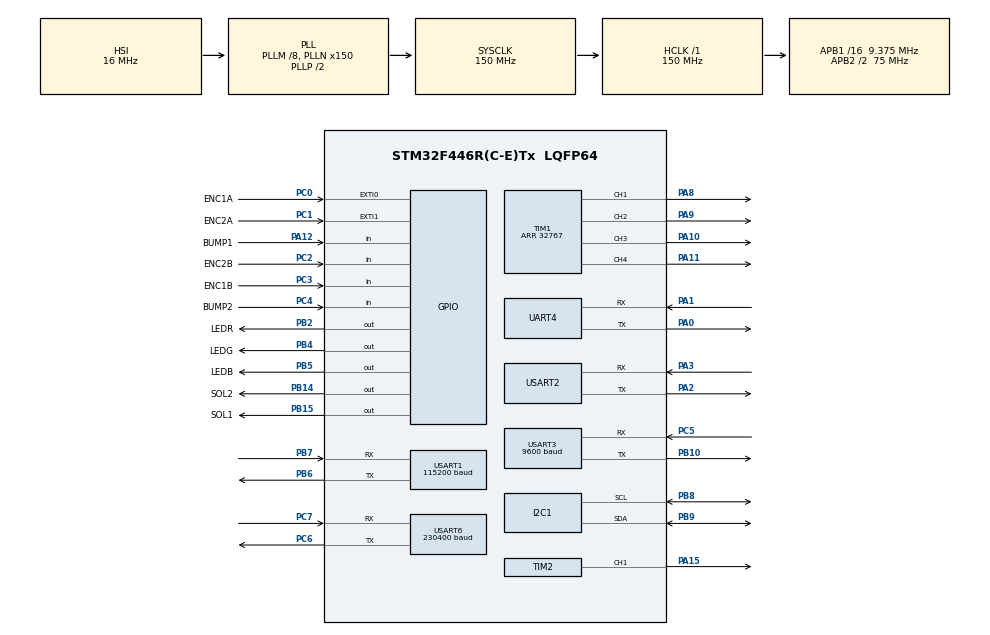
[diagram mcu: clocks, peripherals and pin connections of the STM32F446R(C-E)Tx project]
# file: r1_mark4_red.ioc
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I2C1.I2C_Mode=I2C_Fast
Mcu.Family=STM32F4
Mcu.Name=STM32F446R(C-E)Tx
Mcu.Package=LQFP64
NVIC.EXTI0_IRQn=true\:0\:0\:false\:false\:true\:true\:true\:true
NVIC.EXTI1_IRQn=true\:0\:0\:false\:false\:true\:true\:true\:true
NVIC.PriorityGroup=NVIC_PRIORITYGROUP_4
NVIC.UART4_IRQn=true\:0\:0\:false\:false\:true\:true\:true\:true
PA0-WKUP.Mode=Asynchronous
PA0-WKUP.Signal=UART4_TX
PA1.Mode=Asynchronous
PA1.Signal=UART4_RX
PA10.Signal=S_TIM1_CH3
PA11.Signal=S_TIM1_CH4
PA12.GPIO_Label=BUMP1
PA12.Signal=GPIO_Input
PA15.Signal=S_TIM2_CH1_ETR
PA2.Mode=Asynchronous
PA2.Signal=USART2_TX
PA3.Mode=Asynchronous
PA3.Signal=USART2_RX
PA8.Signal=S_TIM1_CH1
PA9.Signal=S_TIM1_CH2
PB10.Mode=Asynchronous
PB10.Signal=USART3_TX
PB14.GPIO_Label=SOL2
PB14.Signal=GPIO_Output
PB15.GPIO_Label=SOL1
PB15.Signal=GPIO_Output
PB2.GPIO_Label=LEDR
PB2.Signal=GPIO_Output
PB4.GPIO_Label=LEDG
PB4.Signal=GPIO_Output
PB5.GPIO_Label=LEDB
PB5.Signal=GPIO_Output
PB6.Mode=Asynchronous
PB6.Signal=USART1_TX
PB7.Mode=Asynchronous
PB7.Signal=USART1_RX
PB8.Mode=I2C
PB8.Signal=I2C1_SCL
PB9.Mode=I2C
PB9.Signal=I2C1_SDA
PC0.GPIO_Label=ENC1A
PC0.GPIO_PuPd=GPIO_PULLUP
PC0.Signal=GPXTI0
PC1.GPIO_Label=ENC2A
PC1.GPIO_PuPd=GPIO_PULLUP
PC1.Signal=GPXTI1
PC2.GPIO_Label=ENC2B
PC2.GPIO_PuPd=GPIO_PULLUP
PC2.Signal=GPIO_Input
PC3.GPIO_Label=ENC1B
PC3.GPIO_PuPd=GPIO_PULLUP
PC3.Signal=GPIO_Input
PC4.GPIO_Label=BUMP2
PC4.Signal=GPIO_Input
PC5.Mode=Asynchronous
PC5.Signal=USART3_RX
PC6.Mode=Asynchronous
PC6.Signal=USART6_TX
PC7.Mode=Asynchronous
PC7.Signal=USART6_RX
ProjectManager.HeapSize=0x200
ProjectManager.StackSize=0x400
ProjectManager.TargetToolchain=STM32CubeIDE
RCC.AHBFreq_Value=150000000
RCC.APB1CLKDivider=RCC_HCLK_DIV16
RCC.APB1Freq_Value=9375000
RCC.APB1TimFreq_Value=18750000
RCC.APB2CLKDivider=RCC_HCLK_DIV2
RCC.APB2Freq_Value=75000000
RCC.APB2TimFreq_Value=150000000
RCC.CortexFreq_Value=150000000
RCC.HCLKFreq_Value=150000000
RCC.PLLM=8
RCC.PLLN=150
RCC.SYSCLKFreq_VALUE=150000000
RCC.SYSCLKSource=RCC_SYSCLKSOURCE_PLLCLK
RCC.USBFreq_Value=150000000
RCC.VCOOutputFreq_Value=300000000
SH.S_TIM1_CH1.0=TIM1_CH1,PWM Generation1 CH1
SH.S_TIM1_CH2.0=TIM1_CH2,PWM Generation2 CH2
SH.S_TIM1_CH3.0=TIM1_CH3,PWM Generation3 CH3
SH.S_TIM1_CH4.0=TIM1_CH4,PWM Generation4 CH4
SH.S_TIM2_CH1_ETR.0=TIM2_CH1,PWM Generation1 CH1
TIM1.Channel-PWM\ Generation1\ CH1=TIM_CHANNEL_1
TIM1.Channel-PWM\ Generation2\ CH2=TIM_CHANNEL_2
TIM1.Channel-PWM\ Generation3\ CH3=TIM_CHANNEL_3
TIM1.Channel-PWM\ Generation4\ CH4=TIM_CHANNEL_4
TIM1.Period=32767
TIM2.Channel-PWM\ Generation1\ CH1=TIM_CHANNEL_1
TIM2.Period=19999
TIM2.Prescaler=15
TIM2.Pulse-PWM\ Generation1\ CH1=1500
UART4.VirtualMode=Asynchronous
USART1.BaudRate=115200
USART1.VirtualMode=VM_ASYNC
USART2.VirtualMode=VM_ASYNC
USART3.BaudRate=9600
USART3.VirtualMode=VM_ASYNC
USART6.BaudRate=230400
USART6.VirtualMode=VM_ASYNC
VP_TIM2_VS_ClockSourceINT.Mode=Internal
board=custom

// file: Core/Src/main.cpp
/* USER CODE BEGIN Header */
/**
 ******************************************************************************
 * @file           : main.c
 * @brief          : Main program body
 ******************************************************************************
 * @attention
 *
 * Copyright (c) 2026 STMicroelectronics.
 * All rights reserved.
 *
 * This software is licensed under terms that can be found in the LICENSE file
 * in the root directory of this software component.
 * If no LICENSE file comes with this software, it is provided AS-IS.
 *
 ******************************************************************************
 */
/* USER CODE END Header */
#include "main.h"

/* USER CODE BEGIN Includes */
#include<stdbool.h>
#include<string.h>
#include<stdio.h>

#include "bno055_stm32.h"
#include "stm32roboclaw.h"

#include<math.h>
#include "hrishikesh.h"
/* USER CODE END Includes */

I2C_HandleTypeDef hi2c1;

TIM_HandleTypeDef htim1;
TIM_HandleTypeDef htim2;

UART_HandleTypeDef huart4;
UART_HandleTypeDef huart1;
UART_HandleTypeDef huart2;
UART_HandleTypeDef huart3;
UART_HandleTypeDef huart6;

void SystemClock_Config(void);
static void MX_GPIO_Init(void);
static void MX_USART2_UART_Init(void);
static void MX_I2C1_Init(void);
static void MX_USART1_UART_Init(void);
static void MX_USART6_UART_Init(void);
static void MX_UART4_Init(void);
static void MX_USART3_UART_Init(void);
static void MX_TIM1_Init(void);
static void MX_TIM2_Init(void);

/* USER CODE BEGIN 0 */
int target=0;
float error= 0;
float preverror=0;
float P=8;
float I=0.0005;
float D=60;
float intg;

int16_t vFL, vFR, vBL, vBR;
int16_t vMAX = 0;
int16_t maxspeed = 32000;

int16_t PID(float angz){
	error=target-angz;
	intg += error;
	int16_t output = (error*P)+(intg*I)+((error-preverror)*D);
	if(output>100) output = 100;
	if(output<-100) output = -100;
	preverror=error;
	//printf("%d\r\n",error);
	return output;
}

uint8_t rx_byte;
volatile uint8_t rx_count=0;
volatile bool ready= false;
volatile uint8_t idx=0;
uint8_t packet_buffer[11];

//data
int8_t LX;
int8_t LY;
int8_t RX;
int8_t RY;
uint8_t L2,R2;
uint16_t buttons;
uint16_t prev_buttons;
int mode=0,sign=0;

//FOD variables
float driveLX, driveLY;

#define EVENT_QUEUE_SIZE 8
volatile uint16_t event_queue[8];
volatile uint8_t event_head =0;
volatile uint8_t event_tail =0;
volatile uint16_t prev_buttons_isr = 0;

#define NUM_BUTTONS 10
volatile uint8_t butt[NUM_BUTTONS] = {0};

//cytron definitions
#define KFSvertical 0x00
#define KFShorizontal 0x08
#define leadscrew 0x01
#define powerwindow 0x09

//power window rotation flags
bool CW = false;
bool CCW = false;

bool gripper = true;

//kfs intake flags
bool kfsintake = false;
bool kfsexit = false;
bool kfshold = true;

bool kfsLeadscrewVertUp = false;
bool kfsLeadscrewVertDown = false;

bool kfsLeadscrewHoriFW = false;
bool kfsLeadscrewHoriBW = false;

//staff picking leadscrew flags
bool sexPosition = false;
int Encodertarget = 0;
float encerror;
float encpreverror;
float encP = 1.0;
float encI = 0.0;
float encD = 0.0;
float encintg;
int encOut;
bool manualControl = true;
volatile uint8_t servoflag = 0;      // target state (0° / 90°)
static uint8_t lastServoState = 255; // tracks previous state

int16_t encPID(float input){
	encerror=Encodertarget-input;
	encintg += encerror*encI;
	int16_t output = (encerror*encP)+encintg+((encerror-encpreverror)*encD);
	if(output>100) output = 100;
	if(output<-100) output = -100;
	preverror=error;
	//printf("%d\r\n",error);
	return output;
}

//encoder counts
volatile int32_t KFSencoderCount = 0;
volatile int32_t StaffencoderCount = 0;

static inline void enqueue_button_event(uint16_t pressed)
{
	uint8_t next = (event_head + 1) % EVENT_QUEUE_SIZE;

	if (next != event_tail) {   // queue not full
		event_queue[event_head] = pressed;
		event_head = next;
	}
}

bool check_packet(uint8_t *buf){
	if(buf[0]!=0xAA || buf[10]!=0x55) return false;
	uint8_t sum=0;
	for(int i=0;i<=8;i++) sum+=buf[i];
	return ((uint8_t)(0-sum)==buf[9]);
}

void HAL_GPIO_EXTI_Callback(uint16_t GPIO_Pin){
	if(GPIO_Pin==ENC2A_Pin){
		if(HAL_GPIO_ReadPin(ENC2B_GPIO_Port, ENC2B_Pin)==1){
			StaffencoderCount++;
		}
		else{
			StaffencoderCount--;
		}
	}

	if(GPIO_Pin==ENC1A_Pin){
		if(HAL_GPIO_ReadPin(ENC1B_GPIO_Port, ENC1B_Pin)==1){
			KFSencoderCount++;
		}
		else{
			KFSencoderCount--;
		}
	}
}

void HAL_UART_RxCpltCallback(UART_HandleTypeDef *huart)
{
	if (huart->Instance == UART4)
	{
		if (idx == 0)
		{
			if (rx_byte == 0xAA)
			{
				packet_buffer[idx++] = rx_byte;
			}
		}
		else
		{
			packet_buffer[idx++] = rx_byte;

			if (idx == 11)
			{
				if (check_packet(packet_buffer))
				{
					ready=true;
					uint16_t buttons =
							packet_buffer[7] |
							(packet_buffer[8] << 8);

					uint16_t pressed = buttons & ~prev_buttons;

					if (pressed)
						enqueue_button_event(pressed);

					prev_buttons = buttons;

					HAL_GPIO_TogglePin(GPIOA, GPIO_PIN_5);
				}

				idx = 0;
			}
		}

		HAL_UART_Receive_IT(&huart4, &rx_byte, 1);
	}
}

void MDDS60_SendPacket(uint8_t addr, int8_t cmd)
{
	cmd = map(cmd, -100, 100, 0, 255);

	uint8_t packet[4];

	packet[0] = 0x55;
	packet[1] = addr;
	packet[2] = cmd;
	packet[3] = packet[0] + packet[1] + packet[2];

	HAL_UART_Transmit(&huart3, packet, 4, 100);
}

void MDDS60_Autobaud(void)
{
	uint8_t b = 0x55;

	HAL_Delay(2000);
	HAL_UART_Transmit(&huart3, &b, 1, 100);
	HAL_Delay(1000);
}

void MDDS60_StopAll(void){
	MDDS60_SendPacket(0x00,0);
	HAL_Delay(20);
	MDDS60_SendPacket(0x08,0);
}

void process_packet(void){
	if(ready){
		uint8_t local_buf[11];
		__disable_irq();
		memcpy(local_buf, packet_buffer, 11);
		ready = false;
		__enable_irq();

		if(check_packet(local_buf)){
			//			LX = (int8_t)local_buf[1];
			//			LY = (int8_t)local_buf[2];
			//			RX = (int8_t)local_buf[3];
			//			RY = (int8_t)local_buf[4];
			LX = ((int16_t)local_buf[1] - 50) * 2;
			LY = ((int16_t)local_buf[2] - 50) * 2;
			RX = ((int16_t)local_buf[3] - 50) * 2;
			RY = ((int16_t)local_buf[4] - 50) * 2;
			R2 = local_buf[5];
			L2 = local_buf[6];
		}
	}
}

void print_pots(void)
{
	printf("LX:%d  LY:%d  RX:%d  RY:%d  L2:%d  R2:%d\r\n", LX, LY, RX, RY, L2, R2);
}

// Send printf to uart2
extern "C" int _write(int fd, char* ptr, int len) {
	HAL_StatusTypeDef hstatus;

	if (fd == 1 || fd == 2) {
		hstatus = HAL_UART_Transmit(&huart2, (uint8_t *) ptr, len, HAL_MAX_DELAY);
		if (hstatus == HAL_OK)
			return len;
		else
			return -1;
	}
	return -1;
}

stm32RoboClaw motor(&huart1,100);
stm32RoboClaw motor2(&huart6,100);

void inv_kin(float x, float y, float z){
	if(mode==2){
		x=-x*0.35;
		y=-y*0.35;
	}

	else if(mode==4){
		x=-x*0.80;
		y=-y*0.80;
	}
	else{
		x=-x*0.5;
		y=-y*0.5;
	}

	//z=-z;
	z = map(z, -100, 100, -35000, 35000); //maps value of output with range of speed of motors // 100
	x = map(x, -100, 100, -35000, 35000); //maps xj1 values to max speed of motors
	y = map(y, -100, 100, -35000, 35000); //maps yj1 values to max speed of motors

	//inverse kinematics equation for each motor
	vFL = -0.35*x - 0.35*y + 0.25*z;
	vFR = -0.35*x + 0.35*y + 0.25*z;
	vBL = 0.35*x - 0.35*y + 0.25*z;
	vBR = 0.35*x + 0.35*y + 0.25*z;

	vMAX = fmaxf(fmaxf(abs(vFL), abs(vBL)),fmaxf(abs(vFR), abs(vBR)));

	if (vMAX > maxspeed) {
		vFL = (vFL / vMAX) * maxspeed;
		vBL = (vBL / vMAX) * maxspeed;
		vFR = (vFR / vMAX) * maxspeed;
		vBR = (vBR / vMAX) * maxspeed;
	}

	vFL=constrain(vFL,-maxspeed,maxspeed);
	vFR=constrain(vFR,-maxspeed,maxspeed);
	vBL=constrain(vBL,-maxspeed,maxspeed);
	vBR=constrain(vBR,-maxspeed,maxspeed);

	//printf("vfl: %d, vfr: %d, , vbl: %d, , vbr: %d\r\n",vFL, vFR, vBL, vBR);
	motor.DutyM1(129, vFR);
	motor.DutyM2(129, vFL);
	motor2.DutyM1(129, vBL);
	motor2.DutyM2(129, -vBR);

}

void motor_test(void){
	motor.DutyM1(129, 2000);	//vFR
	motor.DutyM2(129, 2000);	//vFL
	motor2.DutyM1(129, 2000);	//vBL
	motor2.DutyM2(129, -2000);	//vBR
}

void PotDeadzone(){
	if(LX<20 && LX>-20) LX=0;
	if(LY<20 && LY>-20) LY=0;
	if(RX<20 && RX>-20) RX=0;
	if(RY<20 && RY>-20) RY=0;

}

void ModeSet(){
	if(RX> 75) mode=1;
	if(RX<-75) mode=2;
	if(RY> 75) mode=3;
	if(RY<-75) mode=4;
}

//void FOD(float x){
//	float pi= 3.14159;
//	float angle = ((-x*pi)/180);
//	int8_t tempLX,tempLY;
//
//	tempLX = (LY*sin(angle)) + (LX*cos(angle));
//	tempLY = (LY*cos(angle)) -(LX*sin(angle));
//
//	LX = tempLX;
//	LY = tempLY;
//}

void FOD(float heading, float *outLX, float *outLY)
{
	float angle = heading * (3.14159265f / 180.0f);

	float x = (float)LX;
	float y = (float)LY;

	*outLX = (x * cosf(angle)) - (y * sinf(angle));
	*outLY = (x * sinf(angle)) + (y * cosf(angle));
}

void colorSet(int mode){
	if(mode==1){ //green
		HAL_GPIO_WritePin(LEDR_GPIO_Port, LEDR_Pin, GPIO_PIN_RESET);
		HAL_GPIO_WritePin(LEDG_GPIO_Port, LEDG_Pin, GPIO_PIN_SET);
		HAL_GPIO_WritePin(LEDB_GPIO_Port, LEDB_Pin, GPIO_PIN_RESET);
	}

	else if(mode==2){ //yellow
		HAL_GPIO_WritePin(LEDR_GPIO_Port, LEDR_Pin, GPIO_PIN_SET);
		HAL_GPIO_WritePin(LEDG_GPIO_Port, LEDG_Pin, GPIO_PIN_SET);
		HAL_GPIO_WritePin(LEDB_GPIO_Port, LEDB_Pin, GPIO_PIN_RESET);
	}

	else if(mode==3){ //blue
		HAL_GPIO_WritePin(LEDR_GPIO_Port, LEDR_Pin, GPIO_PIN_RESET);
		HAL_GPIO_WritePin(LEDG_GPIO_Port, LEDG_Pin, GPIO_PIN_RESET);
		HAL_GPIO_WritePin(LEDB_GPIO_Port, LEDB_Pin, GPIO_PIN_SET);
	}

	else if(mode==4){ //red
		HAL_GPIO_WritePin(LEDR_GPIO_Port, LEDR_Pin, GPIO_PIN_SET);
		HAL_GPIO_WritePin(LEDG_GPIO_Port, LEDG_Pin, GPIO_PIN_RESET);
		HAL_GPIO_WritePin(LEDB_GPIO_Port, LEDB_Pin, GPIO_PIN_RESET);
	}
}

void StaffPickingLeadscrew(){
	if(mode==2){
		if(L2>70){
			MDDS60_SendPacket(leadscrew, -50);
		}
		else if(R2>70){
			MDDS60_SendPacket(leadscrew, 50);
		}
		else{
			MDDS60_SendPacket(leadscrew, 0);
		}
	}
}

void PowerWindowRotation(){
	if(mode==2){
		if(CW){
			//printf("moving cw\r\n");
			// red side pwm = 20 for blue side pwm  = -20
			int bump = HAL_GPIO_ReadPin(BUMP2_GPIO_Port, BUMP2_Pin);
			if(bump!=0){
				MDDS60_SendPacket(powerwindow, 20);
			}
			else{
				MDDS60_SendPacket(powerwindow, 0);
			}

		}

		else if(CCW){
			//printf("moving ccw\r\n");
			MDDS60_SendPacket(powerwindow, -20);
		}

		else{
			//printf("stopped\r\n");
			MDDS60_SendPacket(powerwindow, 0);
		}
	}
}

void gripperRotation(){
	if(gripper==false){
		HAL_GPIO_WritePin(SOL1_GPIO_Port, SOL1_Pin, GPIO_PIN_SET);
		HAL_GPIO_WritePin(SOL2_GPIO_Port, SOL2_Pin, GPIO_PIN_RESET);
	}
	else{
		HAL_GPIO_WritePin(SOL1_GPIO_Port, SOL1_Pin, GPIO_PIN_RESET);
		HAL_GPIO_WritePin(SOL2_GPIO_Port, SOL2_Pin, GPIO_PIN_SET);
	}
}

void KFSPicking(){
	if(mode==3){
		if(kfsintake){
			//printf("intake\r\n");
			TIM1->CCR3 = 0;
			TIM1->CCR4 = 20000;
		}
		else if(kfsexit){
			//printf("exit\r\n");
			TIM1->CCR3 = 8000;
			TIM1->CCR4 = 0;
		}
		else{
			//printf("stopped\r\n");
			TIM1->CCR3 = 0;
			TIM1->CCR4 = 0;
		}
	}
}

void KFShold(){
	if(mode==3){
		TIM1->CCR1 = 0;
		TIM1->CCR2 = 0;
		if(kfshold){
			printf("open position\r\n");
			if(KFSencoderCount<-16){
				TIM1->CCR1 = 10000;
				TIM1->CCR2= 0;
			}
			else{
				TIM1->CCR1 = 0;
				TIM1->CCR2 = 0;
			}
		}
		else{
			printf("close position\r\n");
			if(KFSencoderCount>-45){
				TIM1->CCR1 = 0;
				TIM1->CCR2= 10000;
			}
			else{
				TIM1->CCR1 = 0;
				TIM1->CCR2 = 500;
			}
		}
	}
}

void KFSLeadscrewVert(){
	if(mode==3){
		if(kfsLeadscrewVertUp){
			//printf("Lead up\r\n");
			MDDS60_SendPacket(KFSvertical, 30);
		}
		else if(kfsLeadscrewVertDown){
			//printf("Lead down\r\n");
			MDDS60_SendPacket(KFSvertical, -30);
		}
		else{
			//printf("stopped\r\n");
			MDDS60_SendPacket(KFSvertical, 0);
		}
	}
}

void KFSLeadscrewHori(){
	if(mode==3){
		if(kfsLeadscrewHoriBW){
			//printf("Lead back\r\n");
			MDDS60_SendPacket(KFShorizontal, 30);
		}
		else if(kfsLeadscrewHoriFW){
			//printf("Lead forw\r\n");
			int bump1 = HAL_GPIO_ReadPin(BUMP1_GPIO_Port, BUMP1_Pin);
			if(bump1== 0){
				MDDS60_SendPacket(KFShorizontal, 0);
			}
			else{
				MDDS60_SendPacket(KFShorizontal, -30);
			}
		}
		else{
			//printf("stopped\r\n");
			MDDS60_SendPacket(KFShorizontal, 0);
		}
	}
}

void StaffPickingLeadscrewPID(){
	if(sexPosition){
		Encodertarget = 19500;
	}
	else{
		Encodertarget = 0;
	}

	encOut = encPID(StaffencoderCount);
	MDDS60_SendPacket(leadscrew, encOut);
}

void ServoControl()
{
	if(lastServoState != servoflag){

		if(servoflag == false){   // Move 0 -> 90
			for(int angle = 0; angle <= 100; angle++){
				uint16_t pulse = 500 + (angle * 2000 / 180);

				__HAL_TIM_SET_COMPARE(
						&htim2,
						TIM_CHANNEL_1,
						pulse
				);

				HAL_Delay(10);
			}
		}
		else{            // Move 90 -> 0
			for(int angle = 90; angle >= 0; angle--){

				uint16_t pulse = 500 + (angle * 2000 / 180);

				__HAL_TIM_SET_COMPARE(
						&htim2,
						TIM_CHANNEL_1,
						pulse
				);

				HAL_Delay(10);
			}
		}

		lastServoState = servoflag;
	}
}

void process_button_events(void)
{
	while (event_tail != event_head) {

		uint16_t evt = event_queue[event_tail];
		event_tail = (event_tail + 1) % EVENT_QUEUE_SIZE;

		if(evt & (1 << 0)){
			//printf("Cross\r\n");
			if(mode==3){
				kfsLeadscrewVertUp = !kfsLeadscrewVertUp;
				kfsLeadscrewVertDown=false;
			}

		}

		if(evt & (1 << 1)){
			//printf("Circle\r\n");}
			if(mode==3){
				kfsLeadscrewHoriFW = !kfsLeadscrewHoriFW;
				kfsLeadscrewHoriBW = false;
			}

		}
		if(evt & (1 << 2)){
			//printf("Triangle\r\n");
			if(mode==1){
				target+=(sign*90);
				P = 3;
				I = 0.0007;
				D = 100;
			}

			else if(mode==2){
				servoflag = !servoflag;
			}
			else if(mode==3){
				kfsLeadscrewVertDown = !kfsLeadscrewVertDown;
				kfsLeadscrewVertUp=false;
			}

		}
		if(evt & (1 << 3)){
			//printf("Square\r\n");
			if(mode==1){
				target+=(sign*5);
				P = 8;
				I = 0.0005;
				D = 60;
			}

			else if(mode==2){
				manualControl = !manualControl;
			}

			else if(mode==3){
				kfsLeadscrewHoriBW = !kfsLeadscrewHoriBW;
				kfsLeadscrewHoriFW = false;
			}

		}
		if(evt & (1 << 4)){
			//printf("L1\r\n");
			if(mode==2){
				gripper =!gripper;
			}

			else if(mode==3){
				kfsintake =!kfsintake;
				kfsexit = false;
			}
		}
		if(evt & (1 << 5)){
			//printf("R1\r\n");
			if(mode==3){
				kfsexit =!kfsexit;
				kfsintake = false;
			}

			//			else if(mode==2){
			//				sexPosition = !sexPosition;
			//			}
		}
		if(evt & (1 << 6)) {
			//printf("Up\r\n");
			if(mode==2){
				CW=!CW;
				CCW=false;
			}
		}
		if(evt & (1 << 7)){
			//printf("Down\r\n");
			if(mode==2){
				CCW=!CCW;
				CW=false;
			}
		}
		if(evt & (1 << 8)){
			//printf("Left\r\n");
			sign=-1;
			if(mode==3){
				kfshold = !kfshold;
			}
		}
		if(evt & (1 << 9)){
			//printf("Right\r\n");
			sign=1;
		}
	}
}
/* USER CODE END 0 */

int main(void)
{

	/* USER CODE BEGIN 1 */
	motor.DutyM1(129, -0);
	motor.DutyM2(129, 0);
	motor2.DutyM1(129, 0);
	motor2.DutyM2(129, 0);
	/* USER CODE END 1 */

	/* MCU Configuration--------------------------------------------------------*/

	/* Reset of all peripherals, Initializes the Flash interface and the Systick. */
	HAL_Init();

	/* Configure the system clock */
	SystemClock_Config();

	/* Initialize all configured peripherals */
	MX_GPIO_Init();
	MX_USART2_UART_Init();
	MX_I2C1_Init();
	MX_USART1_UART_Init();
	MX_USART6_UART_Init();
	MX_UART4_Init();
	MX_USART3_UART_Init();
	MX_TIM1_Init();
	MX_TIM2_Init();
	/* USER CODE BEGIN 2 */
	printf("STM32 initializing\r\n");
	HAL_GPIO_WritePin(LEDR_GPIO_Port, LEDR_Pin, GPIO_PIN_SET);
	HAL_GPIO_WritePin(LEDG_GPIO_Port, LEDG_Pin, GPIO_PIN_SET);
	HAL_GPIO_WritePin(LEDB_GPIO_Port, LEDB_Pin, GPIO_PIN_SET);

	HAL_NVIC_SetPriority(UART4_IRQn, 0, 0);
	HAL_NVIC_EnableIRQ(UART4_IRQn);
	HAL_UART_Receive_IT(&huart4, &rx_byte, 1);

	HAL_Delay(100);

	bno055_assignI2C(&hi2c1);
	bno055_setup();
	bno055_setOperationModeNDOF();

	HAL_Delay(1000);
	printf("Stm32 setup complete\r\n");
	HAL_GPIO_WritePin(LEDR_GPIO_Port, LEDR_Pin, GPIO_PIN_RESET);
	HAL_GPIO_WritePin(LEDG_GPIO_Port, LEDG_Pin, GPIO_PIN_SET);
	HAL_GPIO_WritePin(LEDB_GPIO_Port, LEDB_Pin, GPIO_PIN_RESET);

	MDDS60_Autobaud();
	MDDS60_StopAll();
	HAL_Delay(500);

	HAL_TIM_PWM_Start(&htim1, TIM_CHANNEL_1);
	HAL_TIM_PWM_Start(&htim1, TIM_CHANNEL_2);
	HAL_TIM_PWM_Start(&htim1, TIM_CHANNEL_3);
	HAL_TIM_PWM_Start(&htim1, TIM_CHANNEL_4);

	HAL_TIM_PWM_Start(&htim2, TIM_CHANNEL_1);
	/* USER CODE END 2 */

	/* Infinite loop */
	/* USER CODE BEGIN WHILE */
	while (1)
	{
		process_packet();
		process_button_events();
		PotDeadzone();
		ModeSet();
		colorSet(mode);
		//		//print_pots();
		//
		float v = bno055_getHeadingContinuous();
		//printf("%.2f\r\n",v);
		FOD(v,&driveLX,&driveLY);
		inv_kin(driveLX, driveLY, PID(v));
		//printf("VFL:%d\tVFR:%d\tVBL:%d\tVBR:%d\r\n",vFL,vFR,vBL,vBR);
		//printf("%.2f,-8,8\r\n",v);

		if(manualControl){
			StaffPickingLeadscrew();
		}
		else{
			//StaffPickingLeadscrewPID();
			if(StaffencoderCount>=-75000){
				MDDS60_SendPacket(leadscrew, -70);
			}
			else{
				MDDS60_SendPacket(leadscrew, 0);
			}
		}
		PowerWindowRotation();
		gripperRotation();
		KFSPicking();
		KFShold();
		KFSLeadscrewVert();
		KFSLeadscrewHori();
		ServoControl();

		printf("%d\r\n",StaffencoderCount);

		/* USER CODE END WHILE */

	}
}

void SystemClock_Config(void)
{
	RCC_OscInitTypeDef RCC_OscInitStruct = {0};
	RCC_ClkInitTypeDef RCC_ClkInitStruct = {0};

	/** Configure the main internal regulator output voltage
	 */
	__HAL_RCC_PWR_CLK_ENABLE();
	__HAL_PWR_VOLTAGESCALING_CONFIG(PWR_REGULATOR_VOLTAGE_SCALE1);

	/** Initializes the RCC Oscillators according to the specified parameters
	 * in the RCC_OscInitTypeDef structure.
	 */
	RCC_OscInitStruct.OscillatorType = RCC_OSCILLATORTYPE_HSI;
	RCC_OscInitStruct.HSIState = RCC_HSI_ON;
	RCC_OscInitStruct.HSICalibrationValue = RCC_HSICALIBRATION_DEFAULT;
	RCC_OscInitStruct.PLL.PLLState = RCC_PLL_ON;
	RCC_OscInitStruct.PLL.PLLSource = RCC_PLLSOURCE_HSI;
	RCC_OscInitStruct.PLL.PLLM = 8;
	RCC_OscInitStruct.PLL.PLLN = 150;
	RCC_OscInitStruct.PLL.PLLP = RCC_PLLP_DIV2;
	RCC_OscInitStruct.PLL.PLLQ = 2;
	RCC_OscInitStruct.PLL.PLLR = 2;
	if (HAL_RCC_OscConfig(&RCC_OscInitStruct) != HAL_OK)
	{
		Error_Handler();
	}

	/** Initializes the CPU, AHB and APB buses clocks
	 */
	RCC_ClkInitStruct.ClockType = RCC_CLOCKTYPE_HCLK|RCC_CLOCKTYPE_SYSCLK
			|RCC_CLOCKTYPE_PCLK1|RCC_CLOCKTYPE_PCLK2;
	RCC_ClkInitStruct.SYSCLKSource = RCC_SYSCLKSOURCE_PLLCLK;
	RCC_ClkInitStruct.AHBCLKDivider = RCC_SYSCLK_DIV1;
	RCC_ClkInitStruct.APB1CLKDivider = RCC_HCLK_DIV16;
	RCC_ClkInitStruct.APB2CLKDivider = RCC_HCLK_DIV2;

	if (HAL_RCC_ClockConfig(&RCC_ClkInitStruct, FLASH_LATENCY_4) != HAL_OK)
	{
		Error_Handler();
	}
}

static void MX_I2C1_Init(void)
{

	hi2c1.Instance = I2C1;
	hi2c1.Init.ClockSpeed = 400000;
	hi2c1.Init.DutyCycle = I2C_DUTYCYCLE_2;
	hi2c1.Init.OwnAddress1 = 0;
	hi2c1.Init.AddressingMode = I2C_ADDRESSINGMODE_7BIT;
	hi2c1.Init.DualAddressMode = I2C_DUALADDRESS_DISABLE;
	hi2c1.Init.OwnAddress2 = 0;
	hi2c1.Init.GeneralCallMode = I2C_GENERALCALL_DISABLE;
	hi2c1.Init.NoStretchMode = I2C_NOSTRETCH_DISABLE;
	if (HAL_I2C_Init(&hi2c1) != HAL_OK)
	{
		Error_Handler();
	}

}

static void MX_TIM1_Init(void)
{

	TIM_MasterConfigTypeDef sMasterConfig = {0};
	TIM_OC_InitTypeDef sConfigOC = {0};
	TIM_BreakDeadTimeConfigTypeDef sBreakDeadTimeConfig = {0};

	htim1.Instance = TIM1;
	htim1.Init.Prescaler = 0;
	htim1.Init.CounterMode = TIM_COUNTERMODE_UP;
	htim1.Init.Period = 32767;
	htim1.Init.ClockDivision = TIM_CLOCKDIVISION_DIV1;
	htim1.Init.RepetitionCounter = 0;
	htim1.Init.AutoReloadPreload = TIM_AUTORELOAD_PRELOAD_DISABLE;
	if (HAL_TIM_PWM_Init(&htim1) != HAL_OK)
	{
		Error_Handler();
	}
	sMasterConfig.MasterOutputTrigger = TIM_TRGO_RESET;
	sMasterConfig.MasterSlaveMode = TIM_MASTERSLAVEMODE_DISABLE;
	if (HAL_TIMEx_MasterConfigSynchronization(&htim1, &sMasterConfig) != HAL_OK)
	{
		Error_Handler();
	}
	sConfigOC.OCMode = TIM_OCMODE_PWM1;
	sConfigOC.Pulse = 0;
	sConfigOC.OCPolarity = TIM_OCPOLARITY_HIGH;
	sConfigOC.OCNPolarity = TIM_OCNPOLARITY_HIGH;
	sConfigOC.OCFastMode = TIM_OCFAST_DISABLE;
	sConfigOC.OCIdleState = TIM_OCIDLESTATE_RESET;
	sConfigOC.OCNIdleState = TIM_OCNIDLESTATE_RESET;
	if (HAL_TIM_PWM_ConfigChannel(&htim1, &sConfigOC, TIM_CHANNEL_1) != HAL_OK)
	{
		Error_Handler();
	}
	if (HAL_TIM_PWM_ConfigChannel(&htim1, &sConfigOC, TIM_CHANNEL_2) != HAL_OK)
	{
		Error_Handler();
	}
	if (HAL_TIM_PWM_ConfigChannel(&htim1, &sConfigOC, TIM_CHANNEL_3) != HAL_OK)
	{
		Error_Handler();
	}
	if (HAL_TIM_PWM_ConfigChannel(&htim1, &sConfigOC, TIM_CHANNEL_4) != HAL_OK)
	{
		Error_Handler();
	}
	sBreakDeadTimeConfig.OffStateRunMode = TIM_OSSR_DISABLE;
	sBreakDeadTimeConfig.OffStateIDLEMode = TIM_OSSI_DISABLE;
	sBreakDeadTimeConfig.LockLevel = TIM_LOCKLEVEL_OFF;
	sBreakDeadTimeConfig.DeadTime = 0;
	sBreakDeadTimeConfig.BreakState = TIM_BREAK_DISABLE;
	sBreakDeadTimeConfig.BreakPolarity = TIM_BREAKPOLARITY_HIGH;
	sBreakDeadTimeConfig.AutomaticOutput = TIM_AUTOMATICOUTPUT_DISABLE;
	if (HAL_TIMEx_ConfigBreakDeadTime(&htim1, &sBreakDeadTimeConfig) != HAL_OK)
	{
		Error_Handler();
	}
	HAL_TIM_MspPostInit(&htim1);

}

static void MX_TIM2_Init(void)
{

	TIM_ClockConfigTypeDef sClockSourceConfig = {0};
	TIM_MasterConfigTypeDef sMasterConfig = {0};
	TIM_OC_InitTypeDef sConfigOC = {0};

	htim2.Instance = TIM2;
	htim2.Init.Prescaler = 15;
	htim2.Init.CounterMode = TIM_COUNTERMODE_UP;
	htim2.Init.Period = 19999;
	htim2.Init.ClockDivision = TIM_CLOCKDIVISION_DIV1;
	htim2.Init.AutoReloadPreload = TIM_AUTORELOAD_PRELOAD_DISABLE;
	if (HAL_TIM_Base_Init(&htim2) != HAL_OK)
	{
		Error_Handler();
	}
	sClockSourceConfig.ClockSource = TIM_CLOCKSOURCE_INTERNAL;
	if (HAL_TIM_ConfigClockSource(&htim2, &sClockSourceConfig) != HAL_OK)
	{
		Error_Handler();
	}
	if (HAL_TIM_PWM_Init(&htim2) != HAL_OK)
	{
		Error_Handler();
	}
	sMasterConfig.MasterOutputTrigger = TIM_TRGO_RESET;
	sMasterConfig.MasterSlaveMode = TIM_MASTERSLAVEMODE_DISABLE;
	if (HAL_TIMEx_MasterConfigSynchronization(&htim2, &sMasterConfig) != HAL_OK)
	{
		Error_Handler();
	}
	sConfigOC.OCMode = TIM_OCMODE_PWM1;
	sConfigOC.Pulse = 1500;
	sConfigOC.OCPolarity = TIM_OCPOLARITY_HIGH;
	sConfigOC.OCFastMode = TIM_OCFAST_DISABLE;
	if (HAL_TIM_PWM_ConfigChannel(&htim2, &sConfigOC, TIM_CHANNEL_1) != HAL_OK)
	{
		Error_Handler();
	}
	HAL_TIM_MspPostInit(&htim2);

}

static void MX_UART4_Init(void)
{

	huart4.Instance = UART4;
	huart4.Init.BaudRate = 115200;
	huart4.Init.WordLength = UART_WORDLENGTH_8B;
	huart4.Init.StopBits = UART_STOPBITS_1;
	huart4.Init.Parity = UART_PARITY_NONE;
	huart4.Init.Mode = UART_MODE_TX_RX;
	huart4.Init.HwFlowCtl = UART_HWCONTROL_NONE;
	huart4.Init.OverSampling = UART_OVERSAMPLING_16;
	if (HAL_UART_Init(&huart4) != HAL_OK)
	{
		Error_Handler();
	}

}

static void MX_USART1_UART_Init(void)
{

	huart1.Instance = USART1;
	huart1.Init.BaudRate = 115200;
	huart1.Init.WordLength = UART_WORDLENGTH_8B;
	huart1.Init.StopBits = UART_STOPBITS_1;
	huart1.Init.Parity = UART_PARITY_NONE;
	huart1.Init.Mode = UART_MODE_TX_RX;
	huart1.Init.HwFlowCtl = UART_HWCONTROL_NONE;
	huart1.Init.OverSampling = UART_OVERSAMPLING_16;
	if (HAL_UART_Init(&huart1) != HAL_OK)
	{
		Error_Handler();
	}

}

static void MX_USART2_UART_Init(void)
{

	huart2.Instance = USART2;
	huart2.Init.BaudRate = 115200;
	huart2.Init.WordLength = UART_WORDLENGTH_8B;
	huart2.Init.StopBits = UART_STOPBITS_1;
	huart2.Init.Parity = UART_PARITY_NONE;
	huart2.Init.Mode = UART_MODE_TX_RX;
	huart2.Init.HwFlowCtl = UART_HWCONTROL_NONE;
	huart2.Init.OverSampling = UART_OVERSAMPLING_16;
	if (HAL_UART_Init(&huart2) != HAL_OK)
	{
		Error_Handler();
	}

}

static void MX_USART3_UART_Init(void)
{

	huart3.Instance = USART3;
	huart3.Init.BaudRate = 9600;
	huart3.Init.WordLength = UART_WORDLENGTH_8B;
	huart3.Init.StopBits = UART_STOPBITS_1;
	huart3.Init.Parity = UART_PARITY_NONE;
	huart3.Init.Mode = UART_MODE_TX_RX;
	huart3.Init.HwFlowCtl = UART_HWCONTROL_NONE;
	huart3.Init.OverSampling = UART_OVERSAMPLING_16;
	if (HAL_UART_Init(&huart3) != HAL_OK)
	{
		Error_Handler();
	}

}

static void MX_USART6_UART_Init(void)
{

	huart6.Instance = USART6;
	huart6.Init.BaudRate = 230400;
	huart6.Init.WordLength = UART_WORDLENGTH_8B;
	huart6.Init.StopBits = UART_STOPBITS_1;
	huart6.Init.Parity = UART_PARITY_NONE;
	huart6.Init.Mode = UART_MODE_TX_RX;
	huart6.Init.HwFlowCtl = UART_HWCONTROL_NONE;
	huart6.Init.OverSampling = UART_OVERSAMPLING_16;
	if (HAL_UART_Init(&huart6) != HAL_OK)
	{
		Error_Handler();
	}

}

static void MX_GPIO_Init(void)
{
	GPIO_InitTypeDef GPIO_InitStruct = {0};

	/* GPIO Ports Clock Enable */
	__HAL_RCC_GPIOC_CLK_ENABLE();
	__HAL_RCC_GPIOA_CLK_ENABLE();
	__HAL_RCC_GPIOB_CLK_ENABLE();

	/*Configure GPIO pin Output Level */
	HAL_GPIO_WritePin(GPIOB, LEDR_Pin|SOL2_Pin|SOL1_Pin|LEDG_Pin
			|LEDB_Pin, GPIO_PIN_RESET);

	/*Configure GPIO pins : ENC1A_Pin ENC2A_Pin */
	GPIO_InitStruct.Pin = ENC1A_Pin|ENC2A_Pin;
	GPIO_InitStruct.Mode = GPIO_MODE_IT_RISING;
	GPIO_InitStruct.Pull = GPIO_PULLUP;
	HAL_GPIO_Init(GPIOC, &GPIO_InitStruct);

	/*Configure GPIO pins : ENC2B_Pin ENC1B_Pin */
	GPIO_InitStruct.Pin = ENC2B_Pin|ENC1B_Pin;
	GPIO_InitStruct.Mode = GPIO_MODE_INPUT;
	GPIO_InitStruct.Pull = GPIO_PULLUP;
	HAL_GPIO_Init(GPIOC, &GPIO_InitStruct);

	/*Configure GPIO pin : BUMP2_Pin */
	GPIO_InitStruct.Pin = BUMP2_Pin;
	GPIO_InitStruct.Mode = GPIO_MODE_INPUT;
	GPIO_InitStruct.Pull = GPIO_NOPULL;
	HAL_GPIO_Init(BUMP2_GPIO_Port, &GPIO_InitStruct);

	/*Configure GPIO pins : LEDR_Pin SOL2_Pin SOL1_Pin LEDG_Pin
                           LEDB_Pin */
	GPIO_InitStruct.Pin = LEDR_Pin|SOL2_Pin|SOL1_Pin|LEDG_Pin
			|LEDB_Pin;
	GPIO_InitStruct.Mode = GPIO_MODE_OUTPUT_PP;
	GPIO_InitStruct.Pull = GPIO_NOPULL;
	GPIO_InitStruct.Speed = GPIO_SPEED_FREQ_LOW;
	HAL_GPIO_Init(GPIOB, &GPIO_InitStruct);

	/*Configure GPIO pin : BUMP1_Pin */
	GPIO_InitStruct.Pin = BUMP1_Pin;
	GPIO_InitStruct.Mode = GPIO_MODE_INPUT;
	GPIO_InitStruct.Pull = GPIO_NOPULL;
	HAL_GPIO_Init(BUMP1_GPIO_Port, &GPIO_InitStruct);

	/* EXTI interrupt init*/
	HAL_NVIC_SetPriority(EXTI0_IRQn, 0, 0);
	HAL_NVIC_EnableIRQ(EXTI0_IRQn);

	HAL_NVIC_SetPriority(EXTI1_IRQn, 0, 0);
	HAL_NVIC_EnableIRQ(EXTI1_IRQn);

}

void Error_Handler(void)
{
	__disable_irq();
	while (1)
	{
	}
}
